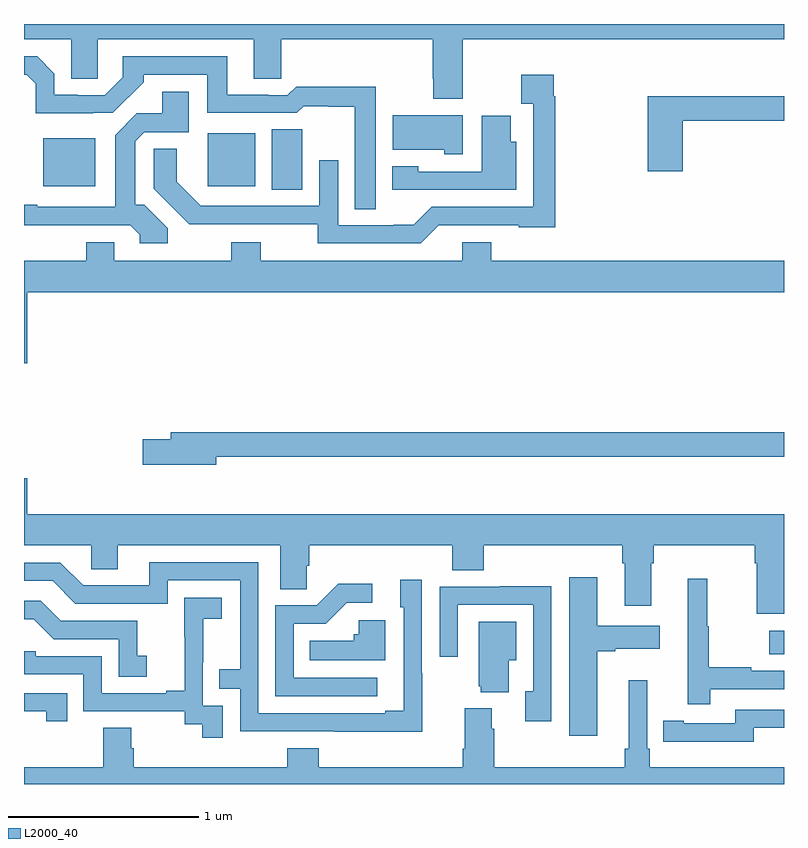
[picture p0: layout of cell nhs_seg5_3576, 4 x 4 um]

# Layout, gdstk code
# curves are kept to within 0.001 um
import gdstk
lib = gdstk.Library(unit=1e-6, precision=1e-09)
def R(c, l, rs):  # rectangles x0, y0, x1, y1
    for r in rs: c.add(gdstk.rectangle(r[:2], r[2:], *l))
def P(c, l, *ps):  # polygons
    for p in ps: c.add(gdstk.Polygon(p, *l))
L2000_40 = (2000, 40)

nhs_seg5_3576 = lib.new_cell('nhs_seg5_3576')
R(nhs_seg5_3576, L2000_40, [(324.923,893.483,325,893.605), (322.304,895.927,322.465,896.246), (321.101,895.946,321.376,896.197), (321.968,895.946,322.216,896.224)])
P(nhs_seg5_3576, L2000_40, [(323.31,896.72),(325,896.72),(325,896.799),(321,896.799),(321,896.72),(321.248,896.72),(321.248,896.512),(321.388,896.512),(321.388,896.72),(322.208,896.72),(322.208,896.512),(322.354,896.512),(322.354,896.72),(323.15,896.72),(323.15,896.512),(323.155,896.512),(323.155,896.405),(323.31,896.405)],
  [(322.852,896.47),(322.432,896.47),(322.386,896.424),(322.286,896.424),(322.286,896.427),(322.069,896.427),(322.069,896.628),(321.521,896.628),(321.521,896.519),(321.426,896.424),(321.284,896.424),(321.284,896.427),(321.159,896.427),(321.159,896.538),(321.069,896.628),(321,896.628),(321,896.532),(321.015,896.532),(321.063,896.484),(321.063,896.33),(321.468,896.331),(321.63,896.493),(321.63,896.532),(321.965,896.532),(321.965,896.331),(322.436,896.331),(322.472,896.367),(322.604,896.367),(322.604,896.363),(322.742,896.363),(322.742,895.825),(322.852,895.825)],
  [(323.184,895.74),(323.604,895.74),(323.604,895.73),(323.795,895.73),(323.795,896.42),(323.788,896.42),(323.788,896.533),(323.616,896.533),(323.616,896.378),(323.679,896.378),(323.679,895.836),(323.145,895.836),(323.051,895.742),(322.946,895.742),(322.946,895.74),(322.654,895.74),(322.654,896.083),(322.553,896.083),(322.553,895.842),(321.93,895.842),(321.804,895.968),(321.804,896.143),(321.684,896.143),(321.683,895.932),(321.786,895.829),(321.785,895.828),(321.869,895.745),(322.545,895.745),(322.545,895.644),(323.088,895.644)],
  [(321.756,895.725),(321.633,895.849),(321.586,895.849),(321.585,896.181),(321.633,896.229),(321.868,896.229),(321.868,896.443),(321.728,896.443),(321.728,896.328),(321.594,896.328),(321.479,896.213),(321.479,895.836),(321.07,895.836),(321.07,895.849),(321,895.849),(321,895.739),(321.56,895.74),(321.609,895.691),(321.609,895.644),(321.756,895.644)],
  [(324.467,896.29),(325,896.29),(325,896.419),(324.284,896.419),(324.284,896.025),(324.467,896.025)],
  [(323.308,896.32),(322.94,896.32),(322.94,896.138),(323.211,896.138),(323.211,896.114),(323.308,896.114)],
  [(323.59,896.178),(323.563,896.178),(323.563,896.317),(323.408,896.317),(323.408,896.022),(323.076,896.022),(323.076,896.05),(322.937,896.05),(322.937,895.926),(323.59,895.926)],
  [(325,895.552),(323.459,895.552),(323.459,895.651),(323.306,895.651),(323.306,895.552),(322.245,895.552),(322.245,895.651),(322.09,895.651),(322.09,895.552),(321.475,895.552),(321.475,895.651),(321.328,895.651),(321.328,895.552),(321,895.552),(321,895.014),(321.016,895.014),(321.016,895.388),(325,895.388)],
  [(322.012,894.522),(325,894.522),(325,894.65),(321.773,894.65),(321.773,894.614),(321.624,894.614),(321.624,894.479),(322.012,894.479)],
  [(325,894.22),(321.016,894.22),(321.016,894.409),(321,894.409),(321,894.056),(321.354,894.056),(321.354,893.929),(321.493,893.929),(321.493,894.056),(322.349,894.056),(322.349,893.824),(322.488,893.824),(322.488,893.947),(322.502,893.947),(322.502,894.056),(323.255,894.056),(323.255,893.923),(323.42,893.923),(323.42,894.056),(324.149,894.056),(324.149,893.96),(324.161,893.96),(324.161,893.736),(324.301,893.736),(324.301,893.96),(324.314,893.96),(324.314,894.056),(324.845,894.056),(324.845,893.96),(324.857,893.96),(324.857,893.694),(325,893.694)],
  [(323.097,893.381),(323.094,893.381),(323.094,893.875),(322.979,893.875),(322.979,893.73),(322.998,893.73),(322.998,893.185),(322.901,893.185),(322.901,893.172),(322.233,893.172),(322.233,893.967),(321.659,893.967),(321.659,893.844),(321.312,893.844),(321.192,893.964),(321,893.964),(321,893.868),(321.15,893.868),(321.27,893.748),(321.756,893.748),(321.756,893.871),(322.137,893.871),(322.137,893.402),(322.027,893.402),(322.027,893.301),(322.137,893.301),(322.137,893.076),(323.097,893.075)],
  [(324.016,893.498),(324.112,893.498),(324.112,893.51),(324.346,893.51),(324.346,893.632),(324.016,893.632),(324.016,893.887),(323.87,893.887),(323.87,893.052),(324.016,893.052)],
  [(324.611,893.298),(325,893.298),(325,893.394),(324.827,893.394),(324.827,893.414),(324.604,893.414),(324.604,893.628),(324.596,893.628),(324.596,893.878),(324.494,893.878),(324.494,893.22),(324.611,893.22)],
  [(322.858,893.358),(322.419,893.358),(322.419,893.643),(322.588,893.643),(322.699,893.754),(322.834,893.754),(322.834,893.852),(322.655,893.852),(322.542,893.739),(322.323,893.739),(322.323,893.262),(322.858,893.262)],
  [(323.775,893.84),(323.503,893.84),(323.503,893.838),(323.187,893.838),(323.187,893.469),(323.283,893.469),(323.283,893.742),(323.679,893.742),(323.679,893.286),(323.639,893.286),(323.639,893.13),(323.775,893.13)],
  [(322.047,893.211),(321.942,893.211),(321.942,893.441),(321.944,893.441),(321.944,893.669),(322.042,893.669),(322.042,893.779),(321.844,893.779),(321.844,893.573),(321.845,893.573),(321.845,893.29),(321.749,893.29),(321.749,893.277),(321.408,893.277),(321.408,893.472),(321.063,893.472),(321.063,893.499),(321,893.499),(321,893.376),(321.312,893.376),(321.312,893.181),(321.846,893.181),(321.846,893.113),(321.939,893.113),(321.939,893.043),(322.047,893.043)],
  [(321.646,893.473),(321.597,893.473),(321.597,893.658),(321.193,893.658),(321.088,893.763),(321,893.763),(321,893.666),(321.052,893.666),(321.156,893.562),(321.498,893.562),(321.498,893.364),(321.646,893.364)],
  [(322.9,893.662),(322.761,893.662),(322.761,893.586),(322.735,893.586),(322.735,893.554),(322.504,893.554),(322.504,893.45),(322.9,893.45)],
  [(323.551,893.45),(323.59,893.45),(323.59,893.653),(323.393,893.653),(323.393,893.313),(323.405,893.313),(323.405,893.282),(323.551,893.282)],
  [(325,892.888),(324.293,892.888),(324.293,892.984),(324.279,892.984),(324.279,893.344),(324.182,893.344),(324.182,892.984),(324.163,892.984),(324.163,892.888),(323.474,892.888),(323.474,893.09),(323.461,893.09),(323.461,893.197),(323.321,893.197),(323.321,892.984),(323.309,892.984),(323.309,892.888),(322.55,892.888),(322.55,892.987),(322.385,892.987),(322.385,892.888),(321.578,892.888),(321.578,892.986),(321.565,892.986),(321.565,893.096),(321.418,893.096),(321.418,892.888),(321,892.888),(321,892.799),(325,892.799)],
  [(321.227,893.277),(321,893.277),(321,893.181),(321.116,893.181),(321.116,893.13),(321.227,893.13)],
  [(324.84,893.094),(325,893.094),(325,893.19),(324.744,893.19),(324.744,893.118),(324.472,893.118),(324.472,893.131),(324.364,893.131),(324.364,893.022),(324.472,893.022),(324.472,893.021),(324.84,893.021)])

lib.write_gds('nhs_seg5_3576.gds')
